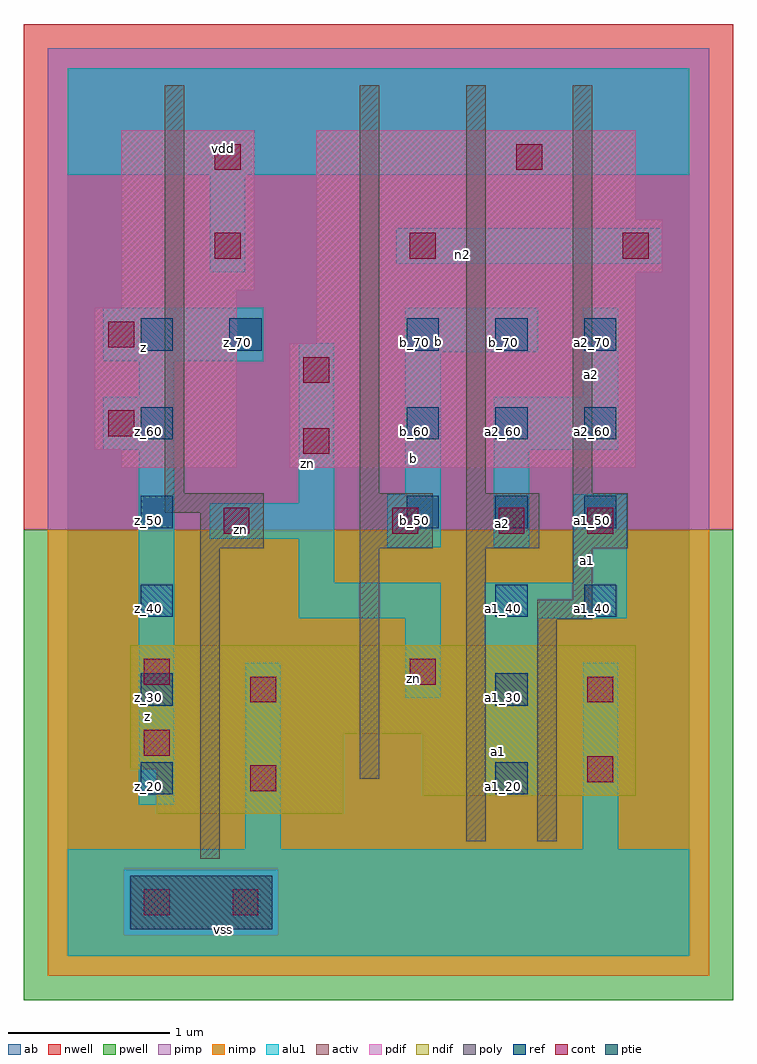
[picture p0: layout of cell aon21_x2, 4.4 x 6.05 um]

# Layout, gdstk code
import gdstk
lib = gdstk.Library(unit=1e-6, precision=2.5e-09)
def R(c, l, rs):  # rectangles x0, y0, x1, y1
    for r in rs: c.add(gdstk.rectangle(r[:2], r[2:], *l))
def A(c, l, x, y, w, h, nx, ny, dx, dy):  # array of equal rectangles
    R(c, l, [(x+i*dx, y+j*dy, x+i*dx+w, y+j*dy+h) for i in range(nx) for j in range(ny)])
ndif = (3, 0)
pdif = (4, 0)
ptie = (6, 0)
ref = (24, 0)
cont = (25, 0)
pwell = (41, 0)
nwell = (42, 0)
activ = (43, 0)
pimp = (44, 0)
nimp = (45, 0)
poly = (46, 0)
alu1 = (49, 0)
ab = (63, 0)

aon21_x2 = lib.new_cell('aon21_x2')
R(aon21_x2, ndif, [(0.55,0.88,1.705,1.155), (2.2,0.99,3.52,1.375), (0.385,1.155,1.705,1.375), (0.385,1.375,3.52,1.925)])
R(aon21_x2, pdif, [(0.33,3.025,1.045,3.135), (1.375,3.025,3.52,3.795), (0.165,3.135,1.045,4.015), (1.54,3.795,3.52,4.235), (0.33,4.015,1.045,4.125), (0.33,4.125,1.155,5.115), (1.54,4.235,3.685,4.565), (1.54,4.565,3.52,5.115)])
R(aon21_x2, ptie, [(0.385,0.165,1.265,0.495)])
A(aon21_x2, ref, 0.45, 1, 0.2, 0.2, 1, 6, 0, 0.55)
A(aon21_x2, ref, 2.65, 1, 0.2, 0.2, 1, 3, 0, 0.55)
A(aon21_x2, ref, 2.1, 2.65, 0.2, 0.2, 3, 3, 0.55, 0.55)
R(aon21_x2, ref, [(3.2,2.1,3.4,2.3), (1,3.75,1.2,3.95)])
R(aon21_x2, cont, [(0.47,0.25,0.63,0.41), (1.02,0.25,1.18,0.41), (1.13,1.02,1.29,1.18), (3.22,1.075,3.38,1.235), (0.47,1.24,0.63,1.4), (1.13,1.57,1.29,1.73), (3.22,1.57,3.38,1.73), (0.47,1.68,0.63,1.84), (2.12,1.68,2.28,1.84), (0.965,2.615,1.125,2.775), (2.01,2.615,2.17,2.775), (2.67,2.615,2.83,2.775), (3.22,2.615,3.38,2.775), (1.46,3.11,1.62,3.27), (0.25,3.22,0.41,3.38), (1.46,3.55,1.62,3.71), (0.25,3.77,0.41,3.93), (0.91,4.32,1.07,4.48), (2.12,4.32,2.28,4.48), (3.44,4.32,3.6,4.48), (0.91,4.87,1.07,5.03), (2.78,4.87,2.94,5.03)])
R(aon21_x2, pwell, [(-0.275,-0.275,4.125,2.64)])
R(aon21_x2, nwell, [(-0.275,2.64,4.125,5.775)])
R(aon21_x2, activ, [(0.385,0.165,1.265,0.495), (0.55,0.88,1.705,1.155), (2.2,0.99,3.52,1.375), (0.385,1.155,1.705,1.375), (0.385,1.375,3.52,1.925), (0.33,3.025,1.045,3.135), (1.375,3.025,3.52,3.795), (0.165,3.135,1.045,4.015), (1.54,3.795,3.52,4.235), (0.33,4.015,1.045,4.125), (0.33,4.125,1.155,5.115), (1.54,4.235,3.685,4.565), (1.54,4.565,3.52,5.115)])
R(aon21_x2, pimp, [(0.345,0.125,1.305,0.535), (-0.125,2.64,3.975,5.625)])
R(aon21_x2, nimp, [(-0.125,-0.125,3.975,0.125), (-0.125,0.125,0.345,0.535), (1.305,0.125,3.975,0.535), (-0.125,0.535,3.975,2.64)])
A(aon21_x2, poly, 1.81, 2.865, 0.12, 2.53, 3, 1, 0.66, 0)
R(aon21_x2, poly, [(0.82,0.6,0.94,2.525), (2.47,0.71,2.59,2.525), (2.91,0.71,3.03,2.085), (1.81,1.095,1.93,2.525), (2.91,2.085,3.25,2.205), (3.13,2.205,3.25,2.525), (0.82,2.525,1.215,2.745), (1.81,2.525,2.26,2.865), (2.47,2.525,2.92,2.865), (3.13,2.525,3.47,2.865), (0.6,2.745,1.215,2.865), (0.6,2.865,0.72,5.395)])
R(aon21_x2, alu1, [(0,0,3.85,0.66), (1.1,0.66,1.32,1.815), (3.19,0.66,3.41,1.815), (0.44,0.935,0.66,3.135), (2.585,0.99,2.915,2.09), (2.09,1.595,2.31,2.09), (1.43,2.09,2.31,2.31), (2.585,2.09,3.465,2.31), (1.43,2.31,1.65,2.585), (3.135,2.31,3.465,2.86), (1.98,2.53,2.31,2.86), (2.64,2.53,2.86,3.135), (0.88,2.585,1.65,2.805), (1.43,2.805,1.65,3.795), (2.09,2.86,2.31,3.74), (0.22,3.135,0.66,3.465), (2.64,3.135,3.41,3.465), (0.44,3.465,0.66,3.685), (3.19,3.465,3.41,4.015), (0.22,3.685,1.21,4.015), (2.09,3.74,2.915,4.015), (0.88,4.235,1.1,4.84), (2.035,4.29,3.685,4.51), (0,4.84,3.85,5.5)])
R(aon21_x2, ab, [(0,0,3.85,5.5)])
aon21_x2.add(gdstk.Label('vss', (0.9625,0.165), layer=49, texttype=0))
aon21_x2.add(gdstk.Label('a1', (2.6675,1.265), layer=49, texttype=0))
aon21_x2.add(gdstk.Label('zn', (2.145,1.7175), layer=49, texttype=0))
aon21_x2.add(gdstk.Label('a1', (3.2175,2.4475), layer=49, texttype=0))
aon21_x2.add(gdstk.Label('a2', (2.695,2.68), layer=49, texttype=0))
aon21_x2.add(gdstk.Label('zn', (1.0725,2.64), layer=49, texttype=0))
aon21_x2.add(gdstk.Label('a2', (3.245,3.6025), layer=49, texttype=0))
aon21_x2.add(gdstk.Label('b', (2.145,3.08), layer=49, texttype=0))
aon21_x2.add(gdstk.Label('b', (2.295,3.8075), layer=49, texttype=0))
aon21_x2.add(gdstk.Label('zn', (1.485,3.0525), layer=49, texttype=0))
aon21_x2.add(gdstk.Label('z', (0.495,1.485), layer=49, texttype=0))
aon21_x2.add(gdstk.Label('z', (0.4675,3.7675), layer=49, texttype=0))
aon21_x2.add(gdstk.Label('n2', (2.4475,4.345), layer=49, texttype=0))
aon21_x2.add(gdstk.Label('vdd', (0.9625,5.005), layer=49, texttype=0))
aon21_x2.add(gdstk.Label('a1_20', (2.7,1.05), layer=24, texttype=0))
aon21_x2.add(gdstk.Label('z_70', (1.05,3.8), layer=24, texttype=0))
aon21_x2.add(gdstk.Label('z_20', (0.5,1.05), layer=24, texttype=0))
aon21_x2.add(gdstk.Label('z_30', (0.5,1.6), layer=24, texttype=0))
aon21_x2.add(gdstk.Label('z_40', (0.5,2.15), layer=24, texttype=0))
aon21_x2.add(gdstk.Label('z_50', (0.5,2.7), layer=24, texttype=0))
aon21_x2.add(gdstk.Label('z_60', (0.5,3.25), layer=24, texttype=0))
aon21_x2.add(gdstk.Label('z_70', (0.5,3.8), layer=24, texttype=0))
aon21_x2.add(gdstk.Label('a1_30', (2.7,1.6), layer=24, texttype=0))
aon21_x2.add(gdstk.Label('a1_50', (3.25,2.7), layer=24, texttype=0))
aon21_x2.add(gdstk.Label('a1_40', (2.7,2.15), layer=24, texttype=0))
aon21_x2.add(gdstk.Label('a2_60', (2.7,3.25), layer=24, texttype=0))
aon21_x2.add(gdstk.Label('b_70', (2.15,3.8), layer=24, texttype=0))
aon21_x2.add(gdstk.Label('a2_70', (3.25,3.8), layer=24, texttype=0))
aon21_x2.add(gdstk.Label('a1_40', (3.25,2.15), layer=24, texttype=0))
aon21_x2.add(gdstk.Label('b_50', (2.15,2.7), layer=24, texttype=0))
aon21_x2.add(gdstk.Label('b_60', (2.15,3.25), layer=24, texttype=0))
aon21_x2.add(gdstk.Label('b_70', (2.7,3.8), layer=24, texttype=0))
aon21_x2.add(gdstk.Label('a2_50', (2.7,2.7), layer=24, texttype=0))
aon21_x2.add(gdstk.Label('a2_60', (3.25,3.25), layer=24, texttype=0))

lib.write_gds('aon21_x2.gds')
